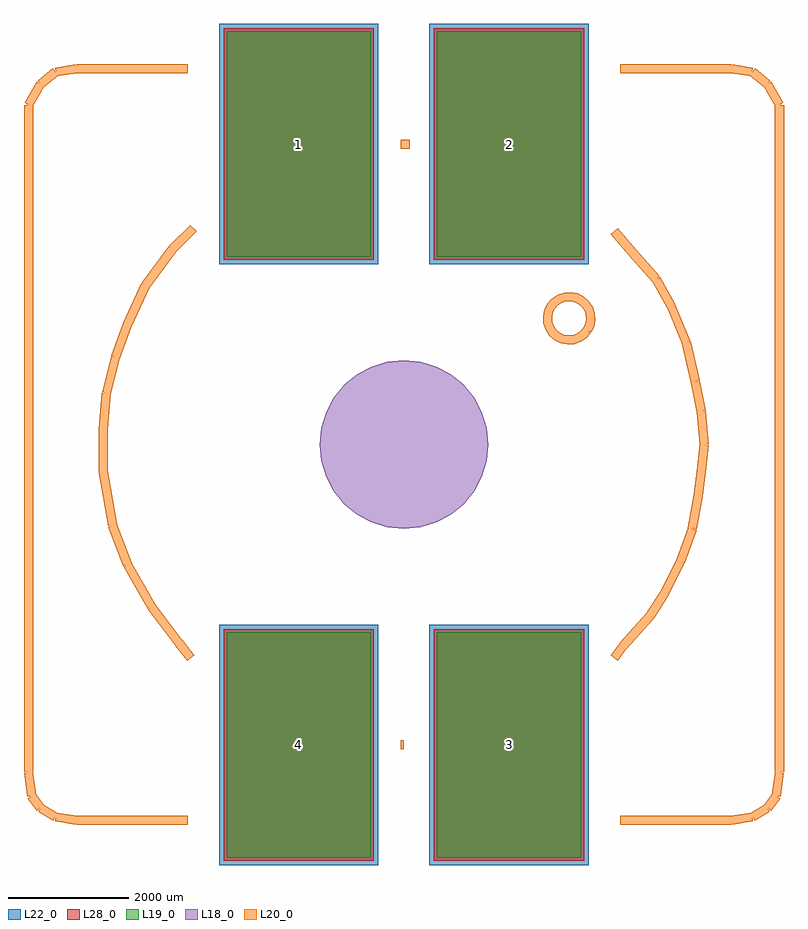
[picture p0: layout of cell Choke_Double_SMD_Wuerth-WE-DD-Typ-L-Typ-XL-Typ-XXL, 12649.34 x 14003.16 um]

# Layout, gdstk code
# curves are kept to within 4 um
import gdstk
lib = gdstk.Library(unit=1e-6, precision=1e-09)
def R(c, l, rs):  # rectangles x0, y0, x1, y1
    for r in rs: c.add(gdstk.rectangle(r[:2], r[2:], *l))
def P(c, l, *ps):  # polygons
    for p in ps: c.add(gdstk.Polygon(p, *l))
L18_0 = (18, 0)
L19_0 = (19, 0)
L20_0 = (20, 0)
L22_0 = (22, 0)
L28_0 = (28, 0)

choke_double_smd_wuerth_ = lib.new_cell('Choke_Double_SMD_Wuerth-WE-DD-Typ-L-Typ-XL-Typ-XXL')
P(choke_double_smd_wuerth_, L18_0, [(100,0),(92.388,38.268),(70.711,70.711),(38.268,92.388),(0,100),(-38.268,92.388),(-70.711,70.711),(-92.388,38.268),(-100,0),(-92.388,-38.268),(-70.711,-70.711),(-38.268,-92.388),(0,-100),(38.268,-92.388),(70.711,-70.711),(92.388,-38.268)],
  [(316.227,0),(310.151,61.693),(292.156,121.015),(262.933,175.686),(223.606,223.606),(175.686,262.933),(121.015,292.156),(61.693,310.151),(0,316.227),(-61.693,310.151),(-121.015,292.156),(-175.686,262.933),(-223.606,223.606),(-262.933,175.686),(-292.156,121.015),(-310.151,61.693),(-316.227,0),(-310.151,-61.693),(-292.156,-121.015),(-262.933,-175.686),(-223.606,-223.606),(-175.686,-262.933),(-121.015,-292.156),(-61.693,-310.151),(0,-316.227),(61.693,-310.151),(121.015,-292.156),(175.686,-262.933),(223.606,-223.606),(262.933,-175.686),(292.156,-121.015),(310.151,-61.693)],
  [(600,0),(588.471,117.054),(554.328,229.61),(498.882,333.342),(424.264,424.264),(333.342,498.882),(229.61,554.328),(117.054,588.471),(0,600),(-117.054,588.471),(-229.61,554.328),(-333.342,498.882),(-424.264,424.264),(-498.882,333.342),(-554.328,229.61),(-588.471,117.054),(-600,0),(-588.471,-117.054),(-554.328,-229.61),(-498.882,-333.342),(-424.264,-424.264),(-333.342,-498.882),(-229.61,-554.328),(-117.054,-588.471),(0,-600),(117.054,-588.471),(229.61,-554.328),(333.342,-498.882),(424.264,-424.264),(498.882,-333.342),(554.328,-229.61),(588.471,-117.054)],
  [(806.225,0),(790.734,157.287),(744.855,308.529),(670.352,447.915),(570.087,570.087),(447.915,670.352),(308.529,744.855),(157.287,790.734),(0,806.225),(-157.287,790.734),(-308.529,744.855),(-447.915,670.352),(-570.087,570.087),(-670.352,447.915),(-744.855,308.529),(-790.734,157.287),(-806.225,0),(-790.734,-157.287),(-744.855,-308.529),(-670.352,-447.915),(-570.087,-570.087),(-447.915,-670.352),(-308.529,-744.855),(-157.287,-790.734),(0,-806.225),(157.287,-790.734),(308.529,-744.855),(447.915,-670.352),(570.087,-570.087),(670.352,-447.915),(744.855,-308.529),(790.734,-157.287)],
  [(1104.536,0),(1083.313,215.484),(1020.458,422.688),(918.388,613.647),(781.025,781.025),(613.647,918.388),(422.688,1020.458),(215.484,1083.313),(0,1104.536),(-215.484,1083.313),(-422.688,1020.458),(-613.647,918.388),(-781.025,781.025),(-918.388,613.647),(-1020.458,422.688),(-1083.313,215.484),(-1104.536,0),(-1083.313,-215.484),(-1020.458,-422.688),(-918.388,-613.647),(-781.025,-781.025),(-613.647,-918.388),(-422.688,-1020.458),(-215.484,-1083.313),(0,-1104.536),(215.484,-1083.313),(422.688,-1020.458),(613.647,-918.388),(781.025,-781.025),(918.388,-613.647),(1020.458,-422.688),(1083.313,-215.484)],
  [(1403.566,0),(1376.597,273.822),(1296.726,537.121),(1167.022,779.779),(992.471,992.471),(779.779,1167.022),(537.121,1296.726),(273.822,1376.597),(0,1403.566),(-273.822,1376.597),(-537.121,1296.726),(-779.779,1167.022),(-992.471,992.471),(-1167.022,779.779),(-1296.726,537.121),(-1376.597,273.822),(-1403.566,0),(-1376.597,-273.822),(-1296.726,-537.121),(-1167.022,-779.779),(-992.471,-992.471),(-779.779,-1167.022),(-537.121,-1296.726),(-273.822,-1376.597),(0,-1403.566),(273.822,-1376.597),(537.121,-1296.726),(779.779,-1167.022),(992.471,-992.471),(1167.022,-779.779),(1296.726,-537.121),(1376.597,-273.822)])
R(choke_double_smd_wuerth_, L19_0, [(-2949.74,-6876.58,-550.38,-3125.94), (550.38,-6876.58,2949.74,-3125.94), (-2949.74,3125.94,-550.38,6876.58), (550.38,3125.94,2949.74,6876.58)])
R(choke_double_smd_wuerth_, L22_0, [(-3074.74,-7001.58,-425.38,-3000.94), (425.38,-7001.58,3074.74,-3000.94), (-3074.74,3000.94,-425.38,7001.58), (425.38,3000.94,3074.74,7001.58)])
R(choke_double_smd_wuerth_, L28_0, [(-2999.74,-6926.58,-500.38,-3075.94), (500.38,-6926.58,2999.74,-3075.94), (-2999.74,3075.94,-500.38,6926.58), (500.38,3075.94,2999.74,6926.58)])
choke_double_smd_wuerth_.add(gdstk.FlexPath([(6250.94,5450.84),(6250.94,-5450.84)], 149.998, ends="flush", simple_path=True, layer=20, datatype=0))  # L20_0
choke_double_smd_wuerth_.add(gdstk.FlexPath([(6250.94,5648.96),(6250.94,5450.84)], 149.998, ends="flush", simple_path=True, layer=20, datatype=0))  # L20_0
choke_double_smd_wuerth_.add(gdstk.FlexPath([(6050.28,5999.48),(6250.94,5648.96)], 149.998, ends="flush", simple_path=True, layer=20, datatype=0))  # L20_0
choke_double_smd_wuerth_.add(gdstk.FlexPath([(5798.82,6200.14),(6050.28,5999.48)], 149.998, ends="flush", simple_path=True, layer=20, datatype=0))  # L20_0
choke_double_smd_wuerth_.add(gdstk.FlexPath([(5450.84,6250.94),(5798.82,6200.14)], 149.998, ends="flush", simple_path=True, layer=20, datatype=0))  # L20_0
choke_double_smd_wuerth_.add(gdstk.FlexPath([(3599.18,6250.94),(5450.84,6250.94)], 149.998, ends="flush", simple_path=True, layer=20, datatype=0))  # L20_0
choke_double_smd_wuerth_.add(gdstk.FlexPath([(6200.14,-5849.62),(6250.94,-5450.84)], 149.998, ends="flush", simple_path=True, layer=20, datatype=0))  # L20_0
choke_double_smd_wuerth_.add(gdstk.FlexPath([(6050.28,-6050.28),(6200.14,-5849.62)], 149.998, ends="flush", simple_path=True, layer=20, datatype=0))  # L20_0
choke_double_smd_wuerth_.add(gdstk.FlexPath([(5798.82,-6200.14),(6050.28,-6050.28)], 149.998, ends="flush", simple_path=True, layer=20, datatype=0))  # L20_0
choke_double_smd_wuerth_.add(gdstk.FlexPath([(5450.84,-6250.94),(5798.82,-6200.14)], 149.998, ends="flush", simple_path=True, layer=20, datatype=0))  # L20_0
choke_double_smd_wuerth_.add(gdstk.FlexPath([(3599.18,-6250.94),(5450.84,-6250.94)], 149.998, ends="flush", simple_path=True, layer=20, datatype=0))  # L20_0
choke_double_smd_wuerth_.add(gdstk.FlexPath([(-3596.64,-6250.94),(-5448.3,-6250.94)], 149.998, ends="flush", simple_path=True, layer=20, datatype=0))  # L20_0
choke_double_smd_wuerth_.add(gdstk.FlexPath([(-5448.3,-6250.94),(-5796.28,-6200.14)], 149.998, ends="flush", simple_path=True, layer=20, datatype=0))  # L20_0
choke_double_smd_wuerth_.add(gdstk.FlexPath([(-5796.28,-6200.14),(-6047.74,-6050.28)], 149.998, ends="flush", simple_path=True, layer=20, datatype=0))  # L20_0
choke_double_smd_wuerth_.add(gdstk.FlexPath([(-6047.74,-6050.28),(-6197.6,-5849.62)], 149.998, ends="flush", simple_path=True, layer=20, datatype=0))  # L20_0
choke_double_smd_wuerth_.add(gdstk.FlexPath([(-6197.6,-5849.62),(-6248.4,-5450.84)], 149.998, ends="flush", simple_path=True, layer=20, datatype=0))  # L20_0
choke_double_smd_wuerth_.add(gdstk.FlexPath([(-3596.64,6250.94),(-5448.3,6250.94)], 149.998, ends="flush", simple_path=True, layer=20, datatype=0))  # L20_0
choke_double_smd_wuerth_.add(gdstk.FlexPath([(-5448.3,6250.94),(-5796.28,6200.14)], 149.998, ends="flush", simple_path=True, layer=20, datatype=0))  # L20_0
choke_double_smd_wuerth_.add(gdstk.FlexPath([(-5796.28,6200.14),(-6047.74,5999.48)], 149.998, ends="flush", simple_path=True, layer=20, datatype=0))  # L20_0
choke_double_smd_wuerth_.add(gdstk.FlexPath([(-6047.74,5999.48),(-6248.4,5648.96)], 149.998, ends="flush", simple_path=True, layer=20, datatype=0))  # L20_0
choke_double_smd_wuerth_.add(gdstk.FlexPath([(-6248.4,5648.96),(-6248.4,5450.84)], 149.998, ends="flush", simple_path=True, layer=20, datatype=0))  # L20_0
choke_double_smd_wuerth_.add(gdstk.FlexPath([(-6248.4,5450.84),(-6248.4,-5450.84)], 149.998, ends="flush", simple_path=True, layer=20, datatype=0))  # L20_0
choke_double_smd_wuerth_.add(gdstk.FlexPath([(3799.84,3200.4),(3500.12,3550.92)], 149.998, ends="flush", simple_path=True, layer=20, datatype=0))  # L20_0
choke_double_smd_wuerth_.add(gdstk.FlexPath([(4201.16,2750.82),(3799.84,3200.4)], 149.998, ends="flush", simple_path=True, layer=20, datatype=0))  # L20_0
choke_double_smd_wuerth_.add(gdstk.FlexPath([(4450.08,2301.24),(4201.16,2750.82)], 149.998, ends="flush", simple_path=True, layer=20, datatype=0))  # L20_0
choke_double_smd_wuerth_.add(gdstk.FlexPath([(4699,1699.26),(4450.08,2301.24)], 149.998, ends="flush", simple_path=True, layer=20, datatype=0))  # L20_0
choke_double_smd_wuerth_.add(gdstk.FlexPath([(4848.86,1049.02),(4699,1699.26)], 149.998, ends="flush", simple_path=True, layer=20, datatype=0))  # L20_0
choke_double_smd_wuerth_.add(gdstk.FlexPath([(4950.46,551.18),(4848.86,1049.02)], 149.998, ends="flush", simple_path=True, layer=20, datatype=0))  # L20_0
choke_double_smd_wuerth_.add(gdstk.FlexPath([(5001.26,0),(4950.46,551.18)], 149.998, ends="flush", simple_path=True, layer=20, datatype=0))  # L20_0
choke_double_smd_wuerth_.add(gdstk.FlexPath([(99.06,5001.26),(-50.8,5001.26)], 149.998, ends="flush", simple_path=True, layer=20, datatype=0))  # L20_0
choke_double_smd_wuerth_.add(gdstk.FlexPath([(-3749.04,-3299.46),(-3550.92,-3550.92)], 149.998, ends="flush", simple_path=True, layer=20, datatype=0))  # L20_0
choke_double_smd_wuerth_.add(gdstk.FlexPath([(-4201.16,-2700.02),(-3749.04,-3299.46)], 149.998, ends="flush", simple_path=True, layer=20, datatype=0))  # L20_0
choke_double_smd_wuerth_.add(gdstk.FlexPath([(-4599.94,-1998.98),(-4201.16,-2700.02)], 149.998, ends="flush", simple_path=True, layer=20, datatype=0))  # L20_0
choke_double_smd_wuerth_.add(gdstk.FlexPath([(-4848.86,-1348.74),(-4599.94,-1998.98)], 149.998, ends="flush", simple_path=True, layer=20, datatype=0))  # L20_0
choke_double_smd_wuerth_.add(gdstk.FlexPath([(-5001.26,-449.58),(-4848.86,-1348.74)], 149.998, ends="flush", simple_path=True, layer=20, datatype=0))  # L20_0
choke_double_smd_wuerth_.add(gdstk.FlexPath([(-5001.26,248.92),(-5001.26,-449.58)], 149.998, ends="flush", simple_path=True, layer=20, datatype=0))  # L20_0
choke_double_smd_wuerth_.add(gdstk.FlexPath([(-4950.46,850.9),(-5001.26,248.92)], 149.998, ends="flush", simple_path=True, layer=20, datatype=0))  # L20_0
choke_double_smd_wuerth_.add(gdstk.FlexPath([(-4800.6,1450.34),(-4950.46,850.9)], 149.998, ends="flush", simple_path=True, layer=20, datatype=0))  # L20_0
choke_double_smd_wuerth_.add(gdstk.FlexPath([(-4599.94,1998.98),(-4800.6,1450.34)], 149.998, ends="flush", simple_path=True, layer=20, datatype=0))  # L20_0
choke_double_smd_wuerth_.add(gdstk.FlexPath([(-4300.22,2649.22),(-4599.94,1998.98)], 149.998, ends="flush", simple_path=True, layer=20, datatype=0))  # L20_0
choke_double_smd_wuerth_.add(gdstk.FlexPath([(-3850.64,3251.2),(-4300.22,2649.22)], 149.998, ends="flush", simple_path=True, layer=20, datatype=0))  # L20_0
choke_double_smd_wuerth_.add(gdstk.FlexPath([(-3500.12,3599.18),(-3850.64,3251.2)], 149.998, ends="flush", simple_path=True, layer=20, datatype=0))  # L20_0
choke_double_smd_wuerth_.add(gdstk.FlexPath([(-50.8,-5001.26),(-2.54,-5001.26)], 149.998, ends="flush", simple_path=True, layer=20, datatype=0))  # L20_0
choke_double_smd_wuerth_.add(gdstk.FlexPath([(4950.46,-449.58),(5001.26,0)], 149.998, ends="flush", simple_path=True, layer=20, datatype=0))  # L20_0
choke_double_smd_wuerth_.add(gdstk.FlexPath([(4899.66,-850.9),(4950.46,-449.58)], 149.998, ends="flush", simple_path=True, layer=20, datatype=0))  # L20_0
choke_double_smd_wuerth_.add(gdstk.FlexPath([(4800.6,-1399.54),(4899.66,-850.9)], 149.998, ends="flush", simple_path=True, layer=20, datatype=0))  # L20_0
choke_double_smd_wuerth_.add(gdstk.FlexPath([(4599.94,-1950.72),(4800.6,-1399.54)], 149.998, ends="flush", simple_path=True, layer=20, datatype=0))  # L20_0
choke_double_smd_wuerth_.add(gdstk.FlexPath([(4351.02,-2451.1),(4599.94,-1950.72)], 149.998, ends="flush", simple_path=True, layer=20, datatype=0))  # L20_0
choke_double_smd_wuerth_.add(gdstk.FlexPath([(4099.56,-2849.88),(4351.02,-2451.1)], 149.998, ends="flush", simple_path=True, layer=20, datatype=0))  # L20_0
choke_double_smd_wuerth_.add(gdstk.FlexPath([(3649.98,-3350.26),(4099.56,-2849.88)], 149.998, ends="flush", simple_path=True, layer=20, datatype=0))  # L20_0
choke_double_smd_wuerth_.add(gdstk.FlexPath([(3500.12,-3550.92),(3649.98,-3350.26)], 149.998, ends="flush", simple_path=True, layer=20, datatype=0))  # L20_0
choke_double_smd_wuerth_.add(gdstk.FlexPath([(3050.54,1899.92),(3092.262,1984.331),(3110.715,2076.663),(3104.642,2170.626),(3074.457,2259.815),(3022.216,2338.153),(2951.48,2400.3),(2867.069,2442.022),(2774.737,2460.475),(2680.774,2454.402),(2591.585,2424.217),(2513.247,2371.976),(2451.1,2301.24),(2409.378,2216.829),(2390.925,2124.497),(2396.998,2030.534),(2427.183,1941.345),(2479.424,1863.007),(2550.16,1800.86),(2634.571,1759.138),(2726.903,1740.685),(2820.866,1746.758),(2910.055,1776.943),(2988.393,1829.184),(3050.54,1899.92)], 149.998, ends="flush", simple_path=True, layer=20, datatype=0))  # L20_0
choke_double_smd_wuerth_.add(gdstk.Label('3', (1750.06,-5001.26), layer=28, texttype=0))
choke_double_smd_wuerth_.add(gdstk.Label('4', (-1750.06,-5001.26), layer=28, texttype=0))
choke_double_smd_wuerth_.add(gdstk.Label('2', (1750.06,5001.26), layer=28, texttype=0))
choke_double_smd_wuerth_.add(gdstk.Label('1', (-1750.06,5001.26), layer=28, texttype=0))
choke_double_smd_wuerth_.add(gdstk.Label('type', (0,-10160), layer=9, texttype=0))
choke_double_smd_wuerth_.add(gdstk.Label('devicename', (0,10160), layer=9, texttype=0))

lib.write_gds('Choke_Double_SMD_Wuerth-WE-DD-Typ-L-Typ-XL-Typ-XXL.gds')
